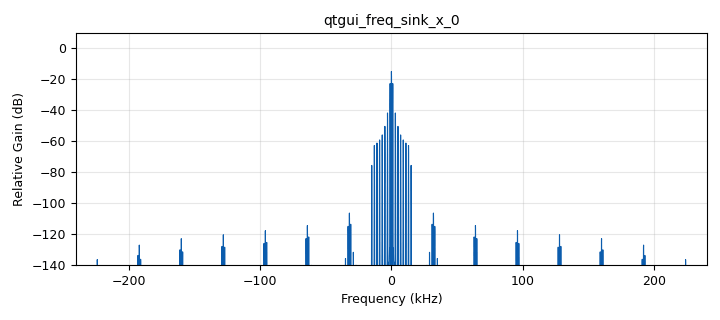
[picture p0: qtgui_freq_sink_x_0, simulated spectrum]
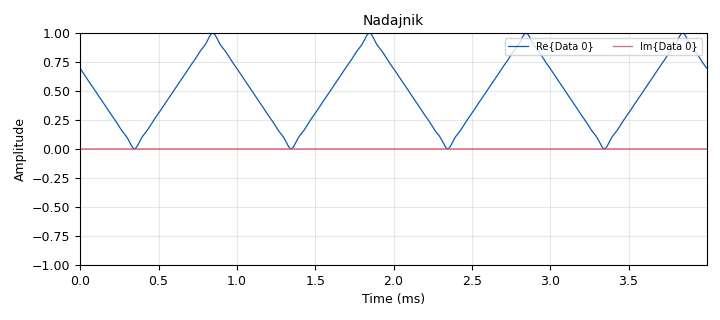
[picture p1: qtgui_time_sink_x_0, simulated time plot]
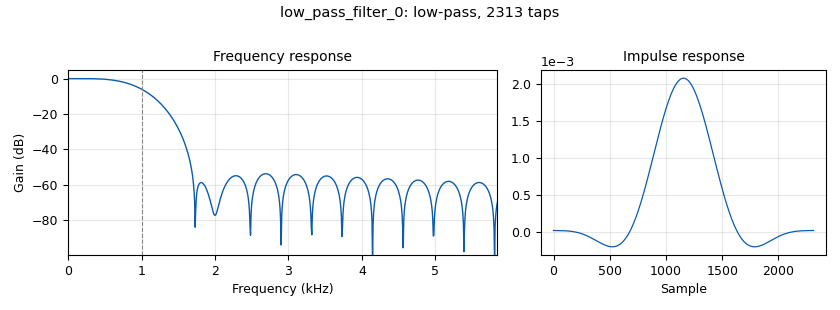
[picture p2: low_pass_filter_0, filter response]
options:
  parameters:
    generate_options: qt_gui
    id: modulacja_am
    output_language: python
    title: Not titled yet
  states: {}

blocks:
- name: filter_freq
  id: variable_qtgui_range
  parameters:
    label: Częstotliwość filtru
    start: '1000'
    step: '1'
    stop: '100000'
    value: '1000'
  states: {}
- name: rx_samp_rate
  id: variable
  parameters:
    value: '960000'
  states: {}
- name: signal_freq
  id: variable_qtgui_range
  parameters:
    label: Częstotliwość sygnału
    start: '1000'
    step: '1'
    stop: '10000'
    value: '1000'
  states: {}
- name: signal_samp_rate
  id: variable
  parameters:
    value: '32000'
  states: {}
- name: sim_freq
  id: variable_qtgui_range
  parameters:
    label: Częstotliwość (symulacja)
    start: '-20000'
    step: '1'
    stop: '20000'
    value: '0'
  states: {}
- name: sim_phase
  id: variable_qtgui_range
  parameters:
    label: Faza (symulacja)
    start: '-180'
    step: '1'
    stop: '180'
    value: '0'
  states: {}
- name: sim_sel
  id: variable_qtgui_chooser
  parameters:
    label: Symulacja
    label0: Tak
    label1: Nie
    num_opts: '2'
    option0: '0'
    option1: '1'
    type: int
    value: '0'
  states: {}
- name: tx_freq
  id: variable
  parameters:
    value: '433820000'
  states: {}
- name: tx_samp_rate
  id: variable
  parameters:
    value: '480000'
  states: {}
- name: analog_sig_source_x_0
  id: analog_sig_source_x
  parameters:
    amp: '1'
    freq: signal_freq
    offset: '0'
    phase: '0'
    samp_rate: signal_samp_rate
    type: complex
    waveform: analog.GR_TRI_WAVE
  states: {}
- name: blocks_complex_to_float_0
  id: blocks_complex_to_float
  parameters: {}
  states: {}
- name: blocks_complex_to_float_1
  id: blocks_complex_to_float
  parameters: {}
  states: {}
- name: blocks_complex_to_mag_0
  id: blocks_complex_to_mag
  parameters: {}
  states: {}
- name: blocks_float_to_complex_0
  id: blocks_float_to_complex
  parameters: {}
  states: {}
- name: blocks_float_to_complex_1
  id: blocks_float_to_complex
  parameters: {}
  states: {}
- name: blocks_float_to_complex_2
  id: blocks_float_to_complex
  parameters: {}
  states: {}
- name: blocks_multiply_const_vxx_0
  id: blocks_multiply_const_vxx
  parameters:
    const: cmath.exp(1j * sim_phase / 180*3.1415)
    type: complex
  states: {}
- name: blocks_selector_0
  id: blocks_selector
  parameters:
    enabled: 'True'
    input_index: sim_sel
    num_inputs: '2'
    num_outputs: '1'
    output_index: '0'
    type: complex
  states: {}
- name: channels_channel_model_0
  id: channels_channel_model
  parameters:
    epsilon: '1.0'
    freq_offset: sim_freq/rx_samp_rate
    noise_voltage: '0.01'
    seed: '0'
    taps: '1.0'
  states: {}
- name: iio_pluto_sink_0
  id: iio_pluto_sink
  parameters:
    attenuation1: '10.0'
    bandwidth: '20000000'
    buffer_size: '32768'
    cyclic: 'False'
    filter_source: '''Auto'''
    frequency: tx_freq
    samplerate: tx_samp_rate
    type: fc32
  states: {}
- name: import_0
  id: import
  parameters:
    imports: import cmath
  states: {}
- name: low_pass_filter_0
  id: low_pass_filter
  parameters:
    cutoff_freq: filter_freq
    decim: '1'
    gain: '1'
    samp_rate: rx_samp_rate
    type: fir_filter_ccf
    width: filter_freq
    win: window.WIN_HAMMING
  states: {}
- name: qtgui_freq_sink_x_0
  id: qtgui_freq_sink_x
  parameters:
    bw: tx_samp_rate
    fc: '0'
    fftsize: '8192'
    grid: 'True'
    gui_hint: (1,0,1,1)
    type: complex
  states: {}
- name: qtgui_freq_sink_x_0_0
  id: qtgui_freq_sink_x
  parameters:
    bw: rx_samp_rate
    fc: tx_freq
    fftsize: '8192'
    grid: 'True'
    gui_hint: (1,1,1,1)
    label1: Sygnał analityczny (sq + j*si)
    type: complex
    wintype: window.WIN_HAMMING
  states: {}
- name: qtgui_time_sink_x_0
  id: qtgui_time_sink_x
  parameters:
    ctrlpanel: 'True'
    grid: 'True'
    gui_hint: (0, 0, 1, 1)
    name: Nadajnik
    size: tx_samp_rate//signal_freq*4
    srate: tx_samp_rate
    type: complex
  states: {}
- name: qtgui_time_sink_x_0_0
  id: qtgui_time_sink_x
  parameters:
    ctrlpanel: 'True'
    grid: 'True'
    gui_hint: (0, 1, 1, 1)
    label3: Obwiednia
    name: Odbiornik
    nconnections: '2'
    size: rx_samp_rate//signal_freq*4
    srate: rx_samp_rate
    type: complex
    width3: '3'
  states: {}
- name: rational_resampler_xxx_0
  id: rational_resampler_xxx
  parameters:
    decim: '1'
    interp: tx_samp_rate//signal_samp_rate
    type: ccc
  states: {}
- name: rational_resampler_xxx_0_0
  id: rational_resampler_xxx
  parameters:
    decim: '1'
    interp: rx_samp_rate//tx_samp_rate
    type: ccc
  states: {}
- name: soapy_rtlsdr_source_0
  id: soapy_rtlsdr_source
  parameters:
    center_freq: tx_freq
    samp_rate: rx_samp_rate
    type: fc32
  states: {}

connections:
- [analog_sig_source_x_0, '0', blocks_complex_to_float_0, '0']
- [blocks_complex_to_float_0, '0', blocks_float_to_complex_0, '0']
- [blocks_complex_to_float_1, '0', blocks_float_to_complex_1, '0']
- [blocks_complex_to_mag_0, '0', blocks_float_to_complex_2, '0']
- [blocks_float_to_complex_0, '0', rational_resampler_xxx_0, '0']
- [blocks_float_to_complex_1, '0', blocks_complex_to_mag_0, '0']
- [blocks_float_to_complex_2, '0', low_pass_filter_0, '0']
- [blocks_multiply_const_vxx_0, '0', channels_channel_model_0, '0']
- [blocks_selector_0, '0', blocks_complex_to_float_1, '0']
- [blocks_selector_0, '0', qtgui_freq_sink_x_0_0, '0']
- [blocks_selector_0, '0', qtgui_time_sink_x_0_0, '0']
- [channels_channel_model_0, '0', blocks_selector_0, '0']
- [low_pass_filter_0, '0', qtgui_time_sink_x_0_0, '1']
- [rational_resampler_xxx_0, '0', iio_pluto_sink_0, '0']
- [rational_resampler_xxx_0, '0', qtgui_freq_sink_x_0, '0']
- [rational_resampler_xxx_0, '0', qtgui_time_sink_x_0, '0']
- [rational_resampler_xxx_0, '0', rational_resampler_xxx_0_0, '0']
- [rational_resampler_xxx_0_0, '0', blocks_multiply_const_vxx_0, '0']
- [soapy_rtlsdr_source_0, '0', blocks_selector_0, '1']

metadata:
  file_format: 1
  grc_version: 3.10.12.0
